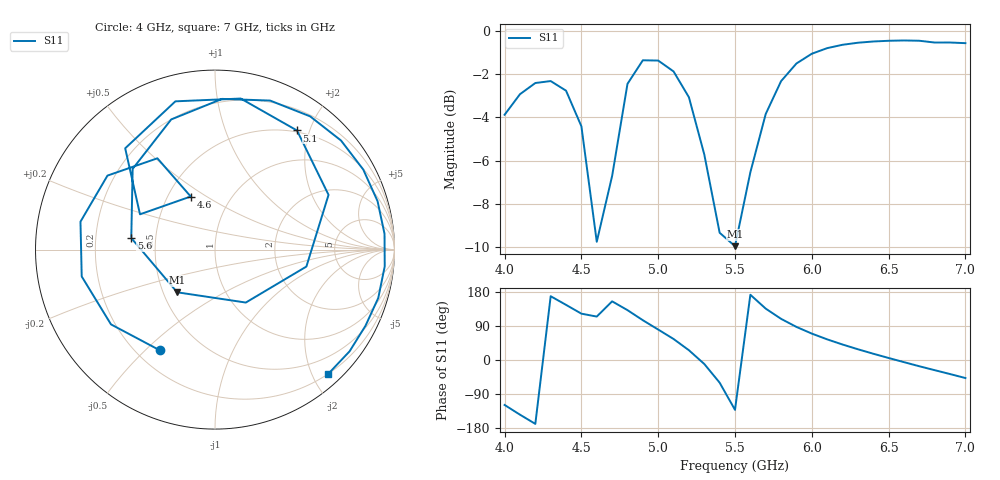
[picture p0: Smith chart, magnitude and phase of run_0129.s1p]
! Touchstone file exported from HFSS 2024.2.0
!  File:  C:/Users/wsak9/Desktop/Sim Fast/Widenad Patch/WP_AI_V1_sweep.aedt
!  Generated:  08:17:40 PM Oct 13, 2026
!  Design:  A1_model
!  Project:  WP_AI_V1_sweep
!  Setup:  Setup1
!  Solution:  Sweep
! Variables:
!  Air_gap = 4.01mm
!  Curve_Amp1 = 3.87
!  Curve_len1 = 1
!  Curve_pos = 12.98mm
!  Extra = 7.37mm
!  H_sub = 0.79mm
!  L_Patch = 21.96mm
!  L_Patch1 = 23.01mm
!  Sx = 1.8mm
!  Sy = 2.14mm
!  WS = 1.15mm
!  W_Patch = 19.65mm
!  W_Patch1 = 15.64mm
!Data is not renormalized
# GHz S MA
! Terminal data exported
! Port[1] = 1
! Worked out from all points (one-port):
!   31 points, 4 GHz to 7 GHz, reference per port
!   lowest |S11| = -10.0 dB at 5.5 GHz (marker M1), VSWR 1.93
!   |S11| at or under -10 dB: nowhere
!   S11 on the Smith chart (normalised r, x): 4 GHz: 0.29, -0.56; 4.6 GHz: 0.65, +0.43; 5.1 GHz: 0.48, +1.81; 5.6 GHz: 0.36, +0.06; 7 GHz: 0.20, -2.25
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4  0.6398 -118.6
4.1  0.7137 -144.3
4.2  0.7575 -168.6
4.3  0.7655 168.3
4.4  0.7272 145.5
4.5  0.6015 122.3
4.6  0.3253 114.6
4.7  0.4618 154.8
4.8  0.7543 131.6
4.9  0.855 105.0
5  0.8538 80.3
5.1  0.8057 55.5
5.2  0.7022 25.7
5.3  0.5179 -10.5
5.4  0.3413 -59.8
5.5  0.3178 -131.5
5.6  0.4709 172.1
5.7  0.6424 135.6
5.8  0.7652 108.6
5.9  0.8406 87.3
6  0.8853 69.7
6.1  0.9121 54.5
6.2  0.9286 40.9
6.3  0.9388 28.4
6.5  0.9486 5.3
6.7  0.9488 -16.5
6.9  0.9399 -37.1
7  0.9367 -47.6
